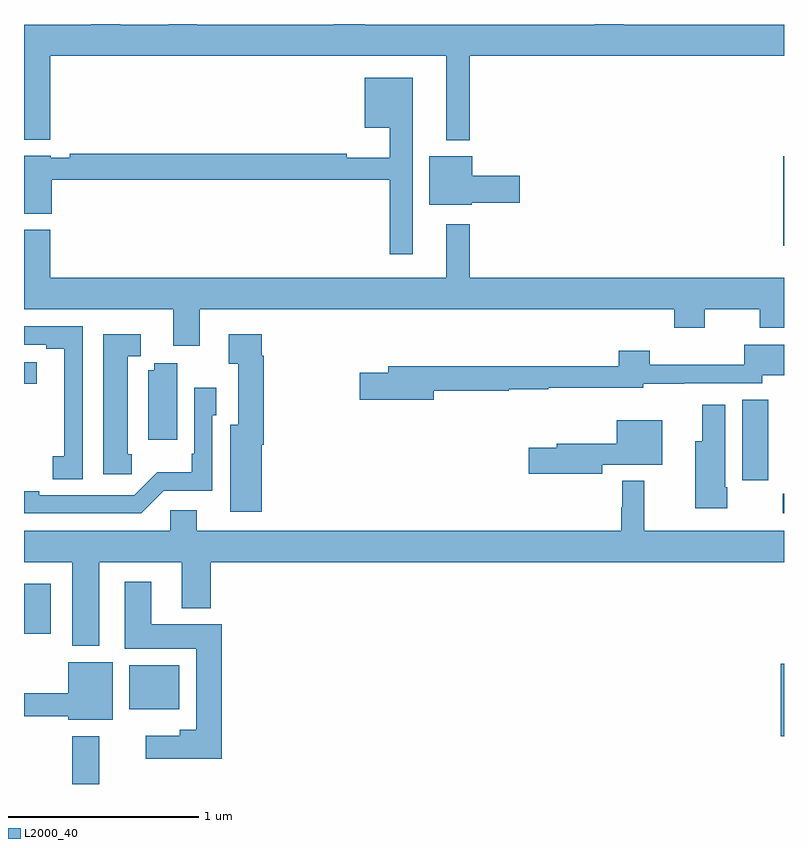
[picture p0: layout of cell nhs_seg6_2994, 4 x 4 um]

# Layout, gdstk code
import gdstk
lib = gdstk.Library(unit=1e-6, precision=1e-09)
def R(c, l, rs):  # rectangles x0, y0, x1, y1
    for r in rs: c.add(gdstk.rectangle(r[:2], r[2:], *l))
def P(c, l, *ps):  # polygons
    for p in ps: c.add(gdstk.Polygon(p, *l))
L2000_40 = (2000, 40)

nhs_seg6_2994 = lib.new_cell('nhs_seg6_2994')
R(nhs_seg6_2994, L2000_40, [(287.255,947.5,287.395,947.752), (290.984,947.751,291,948.132), (287.555,947.894,287.818,948.124), (287,948.29,287.14,948.553), (290.994,948.924,291,949.027), (290.78,949.098,290.917,949.523), (287,949.606,287.068,949.721), (290.996,950.334,291,950.805)])
P(nhs_seg6_2994, L2000_40, [(289.345,951.332),(291,951.332),(291,951.496),(290.156,951.496),(290.156,951.5),(290.004,951.5),(290.004,951.496),(288.794,951.496),(288.794,951.5),(288.629,951.5),(288.629,951.496),(287.91,951.496),(287.91,951.5),(287.762,951.5),(287.762,951.496),(287.506,951.496),(287.506,951.5),(287.354,951.5),(287.354,951.496),(287,951.496),(287,950.891),(287.138,950.891),(287.138,951.332),(289.223,951.332),(289.223,950.888),(289.345,950.888)],
  [(289.045,951.217),(288.794,951.217),(288.794,950.954),(288.924,950.954),(288.924,950.797),(288.698,950.797),(288.698,950.816),(287.242,950.816),(287.242,950.796),(287.142,950.796),(287.142,950.806),(287,950.806),(287,950.501),(287.146,950.501),(287.146,950.68),(288.924,950.68),(288.924,950.289),(289.045,950.289)],
  [(289.356,950.56),(289.609,950.56),(289.609,950.702),(289.36,950.702),(289.36,950.803),(289.133,950.803),(289.133,950.549),(289.356,950.549)],
  [(287.926,950),(290.423,950),(290.423,949.901),(290.583,949.901),(290.583,950),(290.872,950),(290.872,949.901),(291,949.901),(291,950.164),(289.345,950.164),(289.345,950.446),(289.223,950.446),(289.223,950.164),(287.138,950.164),(287.138,950.416),(287,950.416),(287,950),(287.786,950),(287.786,949.806),(287.926,949.806)],
  [(287.31,949.908),(287,949.908),(287,949.812),(287.117,949.812),(287.117,949.792),(287.213,949.792),(287.213,949.529),(287.212,949.529),(287.212,949.225),(287.151,949.225),(287.151,949.105),(287.31,949.105)],
  [(287.567,949.236),(287.545,949.236),(287.545,949.752),(287.614,949.752),(287.614,949.867),(287.417,949.867),(287.417,949.131),(287.567,949.131)],
  [(288.25,949.286),(288.263,949.286),(288.263,949.754),(288.25,949.754),(288.25,949.867),(288.078,949.867),(288.078,949.711),(288.128,949.711),(288.128,949.39),(288.086,949.39),(288.086,948.933),(288.25,948.933)],
  [(289.156,949.57),(289.552,949.57),(289.552,949.578),(289.759,949.578),(289.759,949.585),(290.259,949.585),(290.259,949.607),(290.474,949.607),(290.474,949.608),(290.886,949.608),(290.886,949.652),(291,949.652),(291,949.813),(290.79,949.813),(290.79,949.706),(290.294,949.706),(290.294,949.78),(290.129,949.78),(290.129,949.699),(288.917,949.699),(288.917,949.665),(288.768,949.665),(288.768,949.523),(289.156,949.523)],
  [(287.806,949.715),(287.686,949.715),(287.686,949.678),(287.654,949.678),(287.654,949.311),(287.806,949.311)],
  [(287.736,949.044),(287.991,949.044),(287.991,949.44),(288.012,949.44),(288.012,949.585),(287.895,949.585),(287.895,949.237),(287.883,949.237),(287.883,949.141),(287.701,949.141),(287.58,949.02),(287.08,949.02),(287.08,949.04),(287,949.04),(287,948.924),(287.616,948.924)],
  [(290.7,949.063),(290.692,949.063),(290.692,949.495),(290.57,949.495),(290.57,949.303),(290.534,949.303),(290.534,948.951),(290.7,948.951)],
  [(290.044,949.181),(290.359,949.181),(290.359,949.414),(290.12,949.414),(290.12,949.291),(289.805,949.291),(289.805,949.269),(289.656,949.269),(289.656,949.132),(290.044,949.132)],
  [(287.395,948.668),(287.831,948.668),(287.831,948.425),(287.984,948.425),(287.984,948.668),(291,948.668),(291,948.832),(290.264,948.832),(290.264,949.096),(290.148,949.096),(290.148,948.956),(290.143,948.956),(290.143,948.832),(287.908,948.832),(287.908,948.942),(287.769,948.942),(287.769,948.832),(287,948.832),(287,948.668),(287.255,948.668),(287.255,948.227),(287.395,948.227)],
  [(288.041,948.34),(287.671,948.34),(287.671,948.565),(287.531,948.565),(287.531,948.212),(287.906,948.212),(287.906,947.785),(287.819,947.785),(287.819,947.755),(287.64,947.755),(287.64,947.633),(288.041,947.633)],
  [(287.467,948.142),(287.234,948.142),(287.234,947.977),(287,947.977),(287,947.856),(287.234,947.856),(287.234,947.837),(287.467,947.837)])

lib.write_gds('nhs_seg6_2994.gds')
